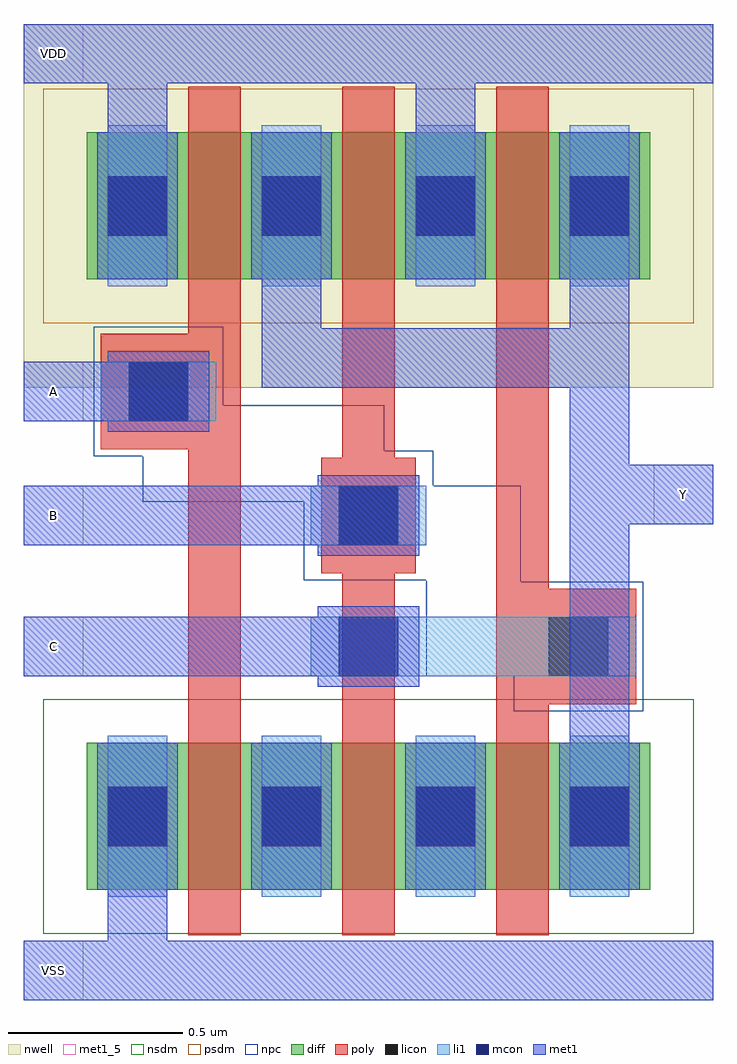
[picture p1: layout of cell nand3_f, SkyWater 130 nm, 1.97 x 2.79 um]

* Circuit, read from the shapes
.subckt nand3_f A B C VDD VSS Y
XM1 n1 A VSS VSUBS sky130_fd_pr__nfet_01v8 w=0.42 l=0.15
XM2 n2 B n1 VSUBS sky130_fd_pr__nfet_01v8 w=0.42 l=0.15
XM3 Y C n2 VSUBS sky130_fd_pr__nfet_01v8 w=0.42 l=0.15
XM4 Y A VDD n3 sky130_fd_pr__pfet_01v8 w=0.42 l=0.15
XM5 VDD B Y n3 sky130_fd_pr__pfet_01v8 w=0.42 l=0.15
XM6 Y C VDD n3 sky130_fd_pr__pfet_01v8 w=0.42 l=0.15
.ends

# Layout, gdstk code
import gdstk
lib = gdstk.Library(unit=1e-6, precision=5e-09)
def R(c, l, rs):  # rectangles x0, y0, x1, y1
    for r in rs: c.add(gdstk.rectangle(r[:2], r[2:], *l))
def A(c, l, x, y, w, h, nx, ny, dx, dy):  # array of equal rectangles
    R(c, l, [(x+i*dx, y+j*dy, x+i*dx+w, y+j*dy+h) for i in range(nx) for j in range(ny)])
nwell = (64, 20)
diff = (65, 20)
poly = (66, 20)
licon = (66, 44)
li1 = (67, 20)
mcon = (67, 44)
met1_5 = (68, 5)
met1 = (68, 20)
nsdm = (93, 44)
psdm = (94, 20)
npc = (95, 20)

nand3_f = lib.new_cell('nand3_f')
R(nand3_f, nwell, [(0,2.205,1.97,3.245)])
R(nand3_f, diff, [(0.18,0.77,1.79,1.19), (0.18,2.515,1.79,2.935)])
R(nand3_f, poly, [(0.47,0.64,0.62,2.03), (0.91,0.64,1.06,1.675), (1.35,0.64,1.5,1.3), (1.35,1.3,1.75,1.63), (1.35,1.63,1.5,3.065), (0.85,1.675,1.12,2.005), (0.91,2.005,1.06,3.065), (0.22,2.03,0.62,2.36), (0.47,2.36,0.62,3.065)])
A(nand3_f, licon, 0.24, 0.895, 0.17, 0.17, 4, 2, 0.44, 1.745)
R(nand3_f, licon, [(1.5,1.38,1.67,1.55), (0.9,1.755,1.07,1.925), (0.3,2.11,0.47,2.28)])
A(nand3_f, li1, 0.24, 0.75, 0.17, 0.46, 4, 2, 0.44, 1.745)
R(nand3_f, li1, [(0.82,1.38,1.75,1.55), (0.82,1.755,1.15,1.925), (0.22,2.11,0.55,2.28)])
A(nand3_f, mcon, 0.24, 0.895, 0.17, 0.17, 4, 2, 0.44, 1.745)
R(nand3_f, mcon, [(0.9,1.38,1.07,1.55), (0.9,1.755,1.07,1.925), (0.3,2.11,0.47,2.28)])
R(nand3_f, met1_5, [(0,0.455,0.17,0.625), (0,1.38,0.17,1.55), (0,1.755,0.17,1.925), (1.8,1.815,1.97,1.985), (0,2.11,0.17,2.28), (0,3.075,0.17,3.245)])
A(nand3_f, met1, 0.21, 0.77, 0.23, 0.42, 4, 2, 0.44, 1.745)
R(nand3_f, met1, [(0,0.455,1.97,0.625), (0.24,0.625,0.41,0.77), (1.56,1.19,1.73,1.815), (0.84,1.35,1.13,1.38), (0,1.38,1.13,1.55), (0.84,1.55,1.13,1.58), (0.84,1.725,1.13,1.755), (0,1.755,1.13,1.925), (1.56,1.815,1.97,1.985), (0.84,1.925,1.13,1.955), (1.56,1.985,1.73,2.205), (0.24,2.08,0.53,2.11), (0,2.11,0.53,2.28), (0.68,2.205,1.73,2.375), (0.24,2.28,0.53,2.31), (0.68,2.375,0.85,2.515), (1.56,2.375,1.73,2.515), (0.24,2.935,0.41,3.075), (1.12,2.935,1.29,3.075), (0,3.075,1.97,3.245)])
R(nand3_f, nsdm, [(0.055,0.645,1.915,1.315)])
R(nand3_f, psdm, [(0.055,2.39,1.915,3.06)])
R(nand3_f, npc, [(1.4,1.28,1.77,1.38), (1.15,1.38,1.77,1.65), (1.15,1.65,1.42,1.655), (0.8,1.655,1.42,1.88), (0.34,1.88,1.42,1.925), (0.34,1.925,1.17,2.01), (0.2,2.01,1.17,2.025), (0.2,2.025,1.03,2.155), (0.2,2.155,0.57,2.38)])
nand3_f.add(gdstk.Label('VDD', (0.085,3.16), layer=68, texttype=5))
nand3_f.add(gdstk.Label('A', (0.085,2.195), layer=68, texttype=5))
nand3_f.add(gdstk.Label('B', (0.085,1.84), layer=68, texttype=5))
nand3_f.add(gdstk.Label('C', (0.085,1.465), layer=68, texttype=5))
nand3_f.add(gdstk.Label('VSS', (0.085,0.54), layer=68, texttype=5))
nand3_f.add(gdstk.Label('Y', (1.885,1.9), layer=68, texttype=5))

lib.write_gds('nand3_f.gds')
